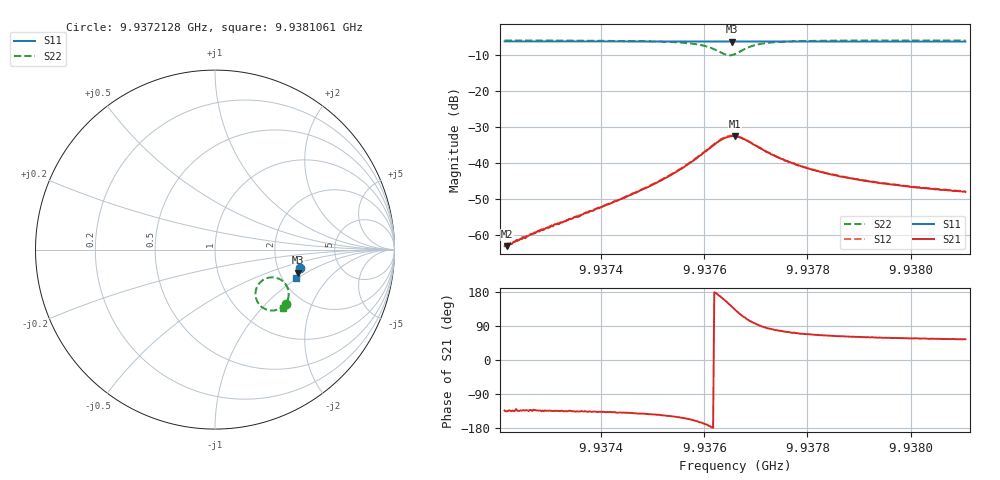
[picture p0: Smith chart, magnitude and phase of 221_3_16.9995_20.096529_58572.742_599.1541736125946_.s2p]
#  HZ  S  RI  R  50.00
! Rohde & Schwarz Vector Network Analyzer
! Rohde-Schwarz,ZNB20-2Port,1311601062101988,3.16
! Created: UTC 3/20/2024, 11:01:59 PM
! freq[Hz]  re:S11  im:S11  re:S21  im:S21  re:S12  im:S12  re:S22  im:S22
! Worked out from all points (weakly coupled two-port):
!   401 points, 9.9372128 GHz to 9.9381061 GHz, reference 50 ohm
!   highest |S21| = -32.55 dB at 9.9376595 GHz (marker M1); lowest = -63.0 dB at 9.9372173 GHz (marker M2)
!   lowest |S11| = -6.4 dB at 9.9376528 GHz (marker M3), VSWR 2.84, Z = 126 - j42.1 ohm
!   |S11| at or under -10 dB: nowhere
!   |S22| runs from -10.2 to -6.1 dB; largest |S21 - S12| = 0.00099
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9.9372128e9  0.4732 -0.101  -0.000484 -0.000513  -0.000493 -0.000535  0.3937 -0.3047
9.93721727e9  0.4731 -0.1013  -0.000499 -0.000497  -0.000532 -0.000541  0.3933 -0.3051
9.93727757e9  0.4719 -0.1055  -0.000787 -0.000831  -0.000814 -0.000799  0.3884 -0.3099
9.93736244e9  0.4702 -0.1111  -0.00136 -0.00137  -0.0014 -0.00137  0.379 -0.3179
9.93744954e9  0.4683 -0.1171  -0.00257 -0.00224  -0.0027 -0.00221  0.3639 -0.3277
9.93751207e9  0.4668 -0.1213  -0.00455 -0.00322  -0.00466 -0.00314  0.3443 -0.3356
9.93755674e9  0.4654 -0.1244  -0.00744 -0.0039  -0.00768 -0.00383  0.3175 -0.3395
9.9376014e9  0.4637 -0.1272  -0.0142 -0.00274  -0.0143 -0.00248  0.2648 -0.3225
9.93761703e9  0.4628 -0.1281  -0.0173 -0.000198  -0.0179 0.000331  0.2404 -0.2975
9.93763267e9  0.4622 -0.1287  -0.0202 0.00521  -0.0206 0.00595  0.2254 -0.2515
9.93764383e9  0.4618 -0.1287  -0.0201 0.0104  -0.0203 0.0113  0.2334 -0.2094
9.93765277e9  0.4616 -0.1289  -0.0184 0.0146  -0.0182 0.0155  0.2549 -0.1792
9.93765947e9  0.4618 -0.1289  -0.0161 0.0172  -0.0156 0.018  0.2777 -0.1637
9.93767287e9  0.4621 -0.1292  -0.0101 0.0196  -0.00956 0.0202  0.3271 -0.155
9.93768627e9  0.4624 -0.1301  -0.00503 0.019  -0.00442 0.0194  0.3657 -0.1674
9.93771083e9  0.4625 -0.1319  0.000338 0.0157  0.000576 0.0158  0.4002 -0.204
9.93775997e9  0.4619 -0.1357  0.00294 0.0103  0.0031 0.0102  0.4105 -0.2526
9.9378091e9  0.4607 -0.1393  0.00314 0.00742  0.00331 0.00743  0.4061 -0.2769
9.93786717e9  0.4594 -0.1432  0.00298 0.00574  0.00311 0.0057  0.3997 -0.2928
9.93795873e9  0.4571 -0.1493  0.00265 0.00434  0.00274 0.00431  0.3908 -0.3078
9.9380034e9  0.4559 -0.1522  0.00253 0.00388  0.00263 0.00392  0.3871 -0.3132
9.93810613e9  0.4534 -0.1588  0.0023 0.00325  0.00237 0.00326  0.3795 -0.3227
